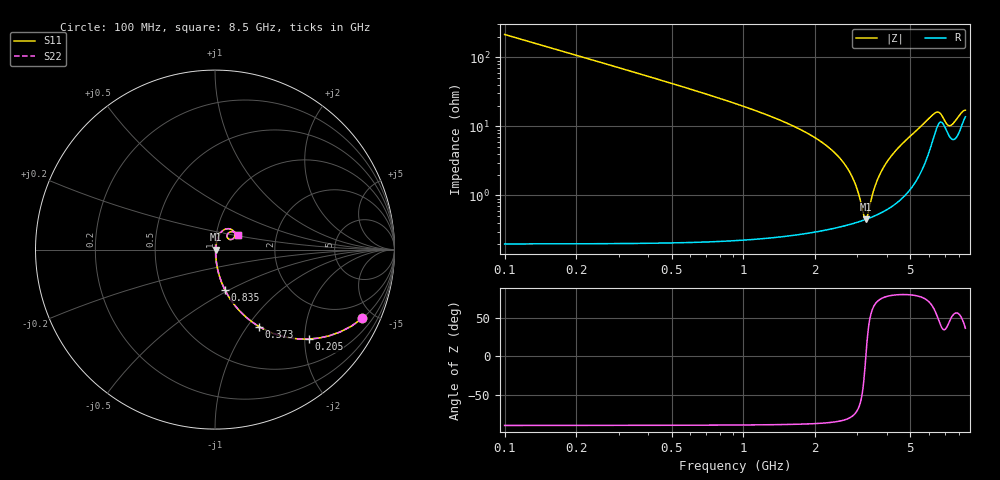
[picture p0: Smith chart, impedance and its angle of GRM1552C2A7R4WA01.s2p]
!Murata Part Number: GRM1552C2A7R4WA01
!These Parameters are Measured in Series Mode Connection
!Data Generated on Mar 30, 2021
!  o--ll--o
!Port1  Port2
!  o------o
!Operation Temp=25[degC], DC Bias Voltage=0[V]
!Freq. Start=100[MHz] Stop=9[GHz] 401[Steps]
# Hz S RI R 50
!Freq.(Hz) S11(Real) S11(Imag) S21(Real) S21(Imag) S12(Real) S12(Imag) S22(Real) S22(Imag)
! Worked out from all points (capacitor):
!   401 points, 100 MHz to 8.5 GHz, reference 50 ohm
!   read as one part in series: C = 7.4 pF near 142 MHz
!   lowest |Z| = 449 mohm at 3.25 GHz (marker M1)
!   series resonance near 3.255 GHz, so ESL is about 320 pH
!   S11 on the Smith chart (normalised r, x): 100 MHz: 1.00, -4.30; 205 MHz: 1.00, -2.09; 373 MHz: 1.00, -1.14; 835 MHz: 1.00, -0.48; 8.5 GHz: 1.28, +0.21
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1e8  0.8218 -0.3823  0.1782 0.3823  0.1782 0.3823  0.8218 -0.3823
2.05e8  0.522 -0.4986  0.478 0.4986  0.478 0.4986  0.522 -0.4986
3.73e8  0.2456 -0.4287  0.7544 0.4287  0.7544 0.4287  0.2456 -0.4287
5.62e8  0.1228 -0.3254  0.8772 0.3254  0.8772 0.3254  0.1228 -0.3254
8.35e8  0.0568 -0.2271  0.9432 0.2271  0.9432 0.2271  0.0568 -0.2271
1.507e9  0.0151 -0.1112  0.9849 0.1112  0.9849 0.1112  0.0151 -0.1112
2.431e9  0.00496 -0.0399  0.995 0.0399  0.995 0.0399  0.00496 -0.0399
2.704e9  0.00432 -0.0254  0.9957 0.0254  0.9957 0.0254  0.00432 -0.0254
2.914e9  0.00418 -0.0152  0.9958 0.0152  0.9958 0.0152  0.00418 -0.0152
3.04e9  0.00422 -0.00941  0.9958 0.00941  0.9958 0.00941  0.00422 -0.00941
3.187e9  0.00437 -0.00292  0.9956 0.00292  0.9956 0.00292  0.00437 -0.00292
3.25e9  0.00446 -0.000209  0.9955 0.000209  0.9955 0.000209  0.00446 -0.000209
3.313e9  0.00458 0.00246  0.9954 -0.00246  0.9954 -0.00246  0.00458 0.00246
3.523e9  0.00511 0.0111  0.9949 -0.0111  0.9949 -0.0111  0.00511 0.0111
3.691e9  0.00568 0.0179  0.9943 -0.0179  0.9943 -0.0179  0.00568 0.0179
3.943e9  0.00682 0.0277  0.9932 -0.0277  0.9932 -0.0277  0.00682 0.0277
4.3e9  0.00907 0.0415  0.9909 -0.0415  0.9909 -0.0415  0.00907 0.0415
5.707e9  0.0371 0.1008  0.9629 -0.1008  0.9629 -0.1008  0.0371 0.1008
6.484e9  0.1025 0.1039  0.8975 -0.1039  0.8975 -0.1039  0.1025 0.1039
7.114e9  0.081 0.0567  0.919 -0.0567  0.919 -0.0567  0.081 0.0567
7.408e9  0.0678 0.0698  0.9322 -0.0698  0.9322 -0.0698  0.0678 0.0698
8.5e9  0.1282 0.0788  0.8718 -0.0788  0.8718 -0.0788  0.1282 0.0788
